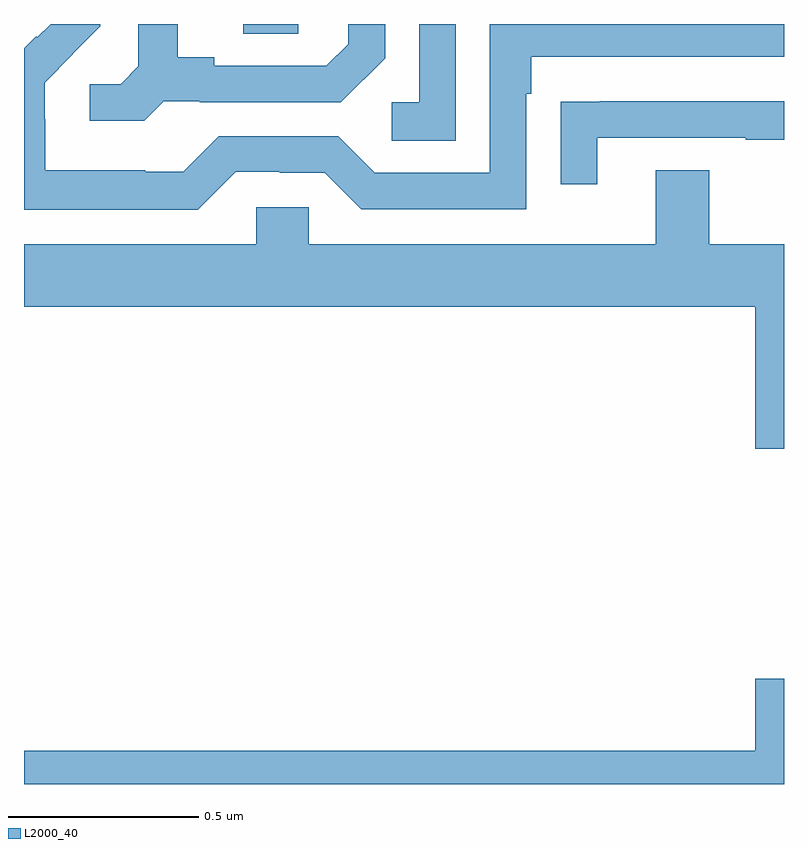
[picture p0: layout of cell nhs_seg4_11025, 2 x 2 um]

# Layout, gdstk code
import gdstk
lib = gdstk.Library(unit=1e-6, precision=1e-09)
def R(c, l, rs):  # rectangles x0, y0, x1, y1
    for r in rs: c.add(gdstk.rectangle(r[:2], r[2:], *l))
def P(c, l, *ps):  # polygons
    for p in ps: c.add(gdstk.Polygon(p, *l))
L2000_40 = (2000, 40)

nhs_seg4_11025 = lib.new_cell('nhs_seg4_11025')
R(nhs_seg4_11025, L2000_40, [(247.577,794.875,247.722,794.9)])
P(nhs_seg4_11025, L2000_40, [(247.557,794.511),(247.673,794.511),(247.673,794.508),(247.791,794.508),(247.887,794.412),(248.322,794.412),(248.322,794.717),(248.335,794.717),(248.335,794.814),(249,794.814),(249,794.9),(248.226,794.9),(248.226,794.508),(247.923,794.508),(247.827,794.604),(247.512,794.604),(247.419,794.511),(247.319,794.511),(247.319,794.515),(247.056,794.515),(247.056,794.649),(247.054,794.649),(247.054,794.746),(247.128,794.82),(247.127,794.821),(247.2,794.894),(247.2,794.9),(247.07,794.9),(247.035,794.865),(247.032,794.868),(247,794.836),(247,794.411),(247.457,794.411)],
  [(247.368,794.697),(247.462,794.697),(247.462,794.694),(247.834,794.694),(247.95,794.81),(247.95,794.9),(247.853,794.9),(247.853,794.847),(247.796,794.79),(247.501,794.79),(247.501,794.813),(247.405,794.813),(247.405,794.9),(247.301,794.9),(247.301,794.789),(247.254,794.742),(247.173,794.742),(247.173,794.645),(247.316,794.645)],
  [(248.136,794.9),(248.04,794.9),(248.04,794.694),(247.968,794.694),(247.968,794.593),(248.136,794.593)],
  [(248.509,794.601),(248.899,794.601),(248.899,794.596),(249,794.596),(249,794.697),(248.515,794.697),(248.515,794.696),(248.413,794.696),(248.413,794.478),(248.509,794.478)],
  [(249,794.32),(248.803,794.32),(248.803,794.515),(248.663,794.515),(248.663,794.32),(247.749,794.32),(247.749,794.418),(247.611,794.418),(247.611,794.32),(247,794.32),(247,794.156),(248.924,794.156),(248.924,793.782),(249,793.782)],
  [(249,793.177),(248.924,793.177),(248.924,792.988),(247,792.988),(247,792.9),(249,792.9)])

lib.write_gds('nhs_seg4_11025.gds')
